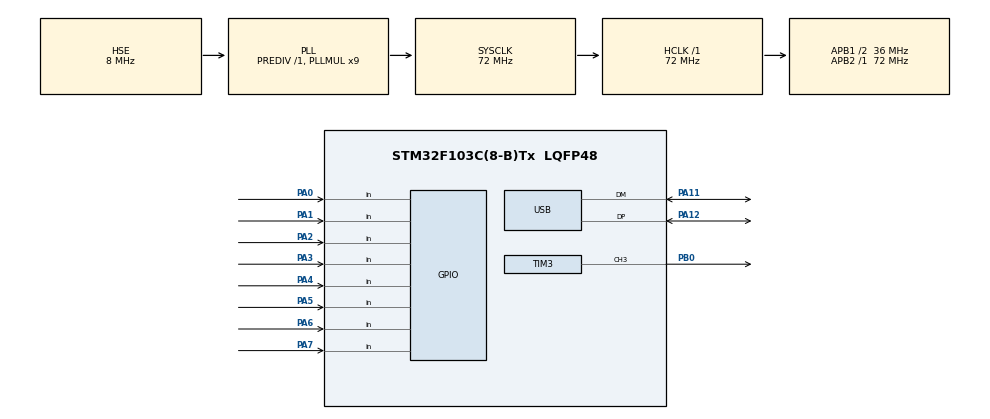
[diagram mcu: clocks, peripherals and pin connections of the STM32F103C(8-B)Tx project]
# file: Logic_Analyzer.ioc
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Dma.Request0=TIM2_UP
Dma.TIM2_UP.0.Direction=DMA_PERIPH_TO_MEMORY
Dma.TIM2_UP.0.Instance=DMA1_Channel2
Dma.TIM2_UP.0.MemDataAlignment=DMA_MDATAALIGN_BYTE
Dma.TIM2_UP.0.MemInc=DMA_MINC_ENABLE
Dma.TIM2_UP.0.Mode=DMA_CIRCULAR
Dma.TIM2_UP.0.PeriphDataAlignment=DMA_PDATAALIGN_BYTE
Dma.TIM2_UP.0.PeriphInc=DMA_PINC_DISABLE
Dma.TIM2_UP.0.Priority=DMA_PRIORITY_LOW
Mcu.Family=STM32F1
Mcu.Name=STM32F103C(8-B)Tx
Mcu.Package=LQFP48
NVIC.DMA1_Channel2_IRQn=true\:0\:0\:false\:false\:true\:false\:true\:true
NVIC.PriorityGroup=NVIC_PRIORITYGROUP_4
NVIC.USB_LP_CAN1_RX0_IRQn=true\:0\:0\:false\:false\:true\:false\:true\:true
PA0-WKUP.GPIO_PuPd=GPIO_PULLDOWN
PA0-WKUP.Signal=GPIO_Input
PA1.GPIO_PuPd=GPIO_PULLDOWN
PA1.Signal=GPIO_Input
PA11.Mode=Device
PA11.Signal=USB_DM
PA12.Mode=Device
PA12.Signal=USB_DP
PA13.Mode=Serial_Wire
PA13.Signal=SYS_JTMS-SWDIO
PA14.Mode=Serial_Wire
PA14.Signal=SYS_JTCK-SWCLK
PA2.GPIO_PuPd=GPIO_PULLDOWN
PA2.Signal=GPIO_Input
PA3.GPIO_PuPd=GPIO_PULLDOWN
PA3.Signal=GPIO_Input
PA4.GPIO_PuPd=GPIO_PULLDOWN
PA4.Signal=GPIO_Input
PA5.GPIO_PuPd=GPIO_PULLDOWN
PA5.Signal=GPIO_Input
PA6.GPIO_PuPd=GPIO_PULLDOWN
PA6.Signal=GPIO_Input
PA7.GPIO_PuPd=GPIO_PULLDOWN
PA7.Signal=GPIO_Input
PB0.Signal=S_TIM3_CH3
PD0-OSC_IN.Mode=HSE-External-Oscillator
PD0-OSC_IN.Signal=RCC_OSC_IN
PD1-OSC_OUT.Mode=HSE-External-Oscillator
PD1-OSC_OUT.Signal=RCC_OSC_OUT
ProjectManager.HeapSize=0x200
ProjectManager.StackSize=0x400
ProjectManager.TargetToolchain=STM32CubeIDE
RCC.AHBFreq_Value=72000000
RCC.APB1CLKDivider=RCC_HCLK_DIV2
RCC.APB1Freq_Value=36000000
RCC.APB1TimFreq_Value=72000000
RCC.APB2Freq_Value=72000000
RCC.APB2TimFreq_Value=72000000
RCC.HCLKFreq_Value=72000000
RCC.PLLMUL=RCC_PLL_MUL9
RCC.PLLSourceVirtual=RCC_PLLSOURCE_HSE
RCC.SYSCLKFreq_VALUE=72000000
RCC.SYSCLKSource=RCC_SYSCLKSOURCE_PLLCLK
RCC.USBFreq_Value=48000000
RCC.USBPrescaler=RCC_USBCLKSOURCE_PLL_DIV1_5
SH.S_TIM3_CH3.0=TIM3_CH3,PWM Generation3 CH3
TIM2.Period=71
TIM3.Channel-PWM\ Generation3\ CH3=TIM_CHANNEL_3
TIM3.Period=99
TIM3.Prescaler=71
TIM3.Pulse-PWM\ Generation3\ CH3=50
USB_DEVICE.CLASS_NAME_FS=CDC
USB_DEVICE.VirtualMode=Cdc
USB_DEVICE.VirtualModeFS=Cdc_FS
VP_TIM2_VS_ClockSourceINT.Mode=Internal
VP_TIM2_VS_ClockSourceITR.Mode=TriggerSource_ITR0
VP_TIM3_VS_ClockSourceINT.Mode=Internal
VP_USB_DEVICE_VS_USB_DEVICE_CDC_FS.Mode=CDC_FS
board=custom

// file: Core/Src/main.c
/* USER CODE BEGIN Header */
/**
  ******************************************************************************
  * @file           : main.c
  * @brief          : Main program body
  ******************************************************************************
  * @attention
  *
  * Copyright (c) 2025 STMicroelectronics.
  * All rights reserved.
  *
  * This software is licensed under terms that can be found in the LICENSE file
  * in the root directory of this software component.
  * If no LICENSE file comes with this software, it is provided AS-IS.
  *
  ******************************************************************************
  */
/* USER CODE END Header */
#include "main.h"
#include "usb_device.h"

/* USER CODE BEGIN Includes */
#include "usbd_cdc_if.h"
/* USER CODE END Includes */

TIM_HandleTypeDef htim2;
TIM_HandleTypeDef htim3;
DMA_HandleTypeDef hdma_tim2_up;

/* USER CODE BEGIN PV */
#define LA_BUFFER_SIZE 10000 // Kích thước mảng (10000 bytes)
uint8_t rx_buffer[LA_BUFFER_SIZE];

// Các cờ báo hiệu cho vòng lặp while(1) biết khi nào DMA đã xong một nửa hoặc xong toàn bộ
volatile uint8_t half_transfer_complete = 0;
volatile uint8_t full_transfer_complete = 0;
/* USER CODE END PV */

void SystemClock_Config(void);
static void MX_GPIO_Init(void);
static void MX_DMA_Init(void);
static void MX_TIM2_Init(void);
static void MX_TIM3_Init(void);
/* USER CODE BEGIN PFP */
void DmaHalfTransferCallback(DMA_HandleTypeDef *hdma);
void DmaFullTransferCallback(DMA_HandleTypeDef *hdma);
/* USER CODE END PFP */

/* USER CODE BEGIN 0 */
// Hàm này tự động được gọi khi DMA ghi đầy nửa đầu của mảng (từ index 0 đến 4999)
void DmaHalfTransferCallback(DMA_HandleTypeDef *hdma) {
    half_transfer_complete = 1; // Bật cờ báo hiệu
}

// Hàm này tự động được gọi khi DMA ghi đầy mảng (từ index 5000 đến 9999)
void DmaFullTransferCallback(DMA_HandleTypeDef *hdma) {
    full_transfer_complete = 1; // Bật cờ báo hiệu
}
/* USER CODE END 0 */

int main(void)
{

  /* MCU Configuration--------------------------------------------------------*/

  /* Reset of all peripherals, Initializes the Flash interface and the Systick. */
  HAL_Init();

  /* Configure the system clock */
  SystemClock_Config();

  /* USER CODE BEGIN SysInit */
  // --- CODE ÉP WINDOWS NHẬN DIỆN LẠI USB (Sửa lỗi Blue Pill) ---
    GPIO_InitTypeDef GPIO_InitStruct = {0};
    __HAL_RCC_GPIOA_CLK_ENABLE(); // Bật xung nhịp cho Port A

    // Cấu hình chân PA12 (USB D+) thành chân Output bình thường
    GPIO_InitStruct.Pin = GPIO_PIN_12;
    GPIO_InitStruct.Mode = GPIO_MODE_OUTPUT_PP;
    GPIO_InitStruct.Pull = GPIO_NOPULL;
    GPIO_InitStruct.Speed = GPIO_SPEED_FREQ_LOW;
    HAL_GPIO_Init(GPIOA, &GPIO_InitStruct);

    // Kéo chân D+ xuống mức LOW (0V) để giả lập việc rút cáp USB
    HAL_GPIO_WritePin(GPIOA, GPIO_PIN_12, GPIO_PIN_RESET);

    // Đợi 50 mili-giây để Windows nhận ra sự ngắt kết nối
    HAL_Delay(50);
  /* USER CODE END SysInit */

  /* Initialize all configured peripherals */
  MX_GPIO_Init();
  MX_DMA_Init();
  MX_TIM2_Init();
  MX_USB_DEVICE_Init();
  MX_TIM3_Init();
  /* USER CODE BEGIN 2 */
  // Khởi động phát xung vuông PWM 10kHz trên chân PB0
    HAL_TIM_PWM_Start(&htim3, TIM_CHANNEL_3);
  // 1. Gắn các hàm Callback vừa viết ở trên vào bộ điều khiển DMA
  // Gắn hàm Callback vào ngắt HT và TC của DMA
    HAL_DMA_RegisterCallback(&hdma_tim2_up, HAL_DMA_XFER_HALFCPLT_CB_ID, DmaHalfTransferCallback);
    HAL_DMA_RegisterCallback(&hdma_tim2_up, HAL_DMA_XFER_CPLT_CB_ID, DmaFullTransferCallback);

    // Kích hoạt DMA chạy vòng tròn (Circular) chép dữ liệu từ Port A vào rx_buffer
    HAL_DMA_Start_IT(&hdma_tim2_up, (uint32_t)&(GPIOA->IDR), (uint32_t)rx_buffer, LA_BUFFER_SIZE);

    // Cấp quyền cho Timer 2 gọi DMA
    __HAL_TIM_ENABLE_DMA(&htim2, TIM_DMA_UPDATE);

    // Bắt đầu đếm nhịp lấy mẫu!
    HAL_TIM_Base_Start(&htim2);
  /* USER CODE END 2 */

  /* Infinite loop */
  /* USER CODE BEGIN WHILE */

    while (1)
      {
    	if (half_transfer_complete == 1) {
    	          // Truyền 5000 byte nửa đầu của mảng
    	          // &rx_buffer[0] là địa chỉ bắt đầu của nửa đầu
    	          CDC_Transmit_FS(&rx_buffer[0], LA_BUFFER_SIZE / 2);

    	          half_transfer_complete = 0; // Xóa cờ, đợi chu kỳ sau
    	      }

    	if (full_transfer_complete == 1) {
    	          // Truyền 5000 byte nửa sau của mảng
    	          // &rx_buffer[5000] là địa chỉ bắt đầu của nửa sau
    	          CDC_Transmit_FS(&rx_buffer[LA_BUFFER_SIZE / 2], LA_BUFFER_SIZE / 2);

    	          full_transfer_complete = 0; // Xóa cờ, đợi chu kỳ sau
    	      }

    	// Tạo khoảng nghỉ 5ms giữa các lần phát để phần mềm PC dễ nhìn
    	HAL_Delay(5);
    /* USER CODE END WHILE */

  }
}

void SystemClock_Config(void)
{
  RCC_OscInitTypeDef RCC_OscInitStruct = {0};
  RCC_ClkInitTypeDef RCC_ClkInitStruct = {0};
  RCC_PeriphCLKInitTypeDef PeriphClkInit = {0};

  /** Initializes the RCC Oscillators according to the specified parameters
  * in the RCC_OscInitTypeDef structure.
  */
  RCC_OscInitStruct.OscillatorType = RCC_OSCILLATORTYPE_HSE;
  RCC_OscInitStruct.HSEState = RCC_HSE_ON;
  RCC_OscInitStruct.HSEPredivValue = RCC_HSE_PREDIV_DIV1;
  RCC_OscInitStruct.HSIState = RCC_HSI_ON;
  RCC_OscInitStruct.PLL.PLLState = RCC_PLL_ON;
  RCC_OscInitStruct.PLL.PLLSource = RCC_PLLSOURCE_HSE;
  RCC_OscInitStruct.PLL.PLLMUL = RCC_PLL_MUL9;
  if (HAL_RCC_OscConfig(&RCC_OscInitStruct) != HAL_OK)
  {
    Error_Handler();
  }

  /** Initializes the CPU, AHB and APB buses clocks
  */
  RCC_ClkInitStruct.ClockType = RCC_CLOCKTYPE_HCLK|RCC_CLOCKTYPE_SYSCLK
                              |RCC_CLOCKTYPE_PCLK1|RCC_CLOCKTYPE_PCLK2;
  RCC_ClkInitStruct.SYSCLKSource = RCC_SYSCLKSOURCE_PLLCLK;
  RCC_ClkInitStruct.AHBCLKDivider = RCC_SYSCLK_DIV1;
  RCC_ClkInitStruct.APB1CLKDivider = RCC_HCLK_DIV2;
  RCC_ClkInitStruct.APB2CLKDivider = RCC_HCLK_DIV1;

  if (HAL_RCC_ClockConfig(&RCC_ClkInitStruct, FLASH_LATENCY_2) != HAL_OK)
  {
    Error_Handler();
  }
  PeriphClkInit.PeriphClockSelection = RCC_PERIPHCLK_USB;
  PeriphClkInit.UsbClockSelection = RCC_USBCLKSOURCE_PLL_DIV1_5;
  if (HAL_RCCEx_PeriphCLKConfig(&PeriphClkInit) != HAL_OK)
  {
    Error_Handler();
  }
}

static void MX_TIM2_Init(void)
{

  TIM_ClockConfigTypeDef sClockSourceConfig = {0};
  TIM_SlaveConfigTypeDef sSlaveConfig = {0};
  TIM_MasterConfigTypeDef sMasterConfig = {0};

  htim2.Instance = TIM2;
  htim2.Init.Prescaler = 0;
  htim2.Init.CounterMode = TIM_COUNTERMODE_UP;
  htim2.Init.Period = 71;
  htim2.Init.ClockDivision = TIM_CLOCKDIVISION_DIV1;
  htim2.Init.AutoReloadPreload = TIM_AUTORELOAD_PRELOAD_DISABLE;
  if (HAL_TIM_Base_Init(&htim2) != HAL_OK)
  {
    Error_Handler();
  }
  sClockSourceConfig.ClockSource = TIM_CLOCKSOURCE_INTERNAL;
  if (HAL_TIM_ConfigClockSource(&htim2, &sClockSourceConfig) != HAL_OK)
  {
    Error_Handler();
  }
  sSlaveConfig.SlaveMode = TIM_SLAVEMODE_DISABLE;
  sSlaveConfig.InputTrigger = TIM_TS_ITR0;
  if (HAL_TIM_SlaveConfigSynchro(&htim2, &sSlaveConfig) != HAL_OK)
  {
    Error_Handler();
  }
  sMasterConfig.MasterOutputTrigger = TIM_TRGO_RESET;
  sMasterConfig.MasterSlaveMode = TIM_MASTERSLAVEMODE_DISABLE;
  if (HAL_TIMEx_MasterConfigSynchronization(&htim2, &sMasterConfig) != HAL_OK)
  {
    Error_Handler();
  }

}

static void MX_TIM3_Init(void)
{

  TIM_ClockConfigTypeDef sClockSourceConfig = {0};
  TIM_MasterConfigTypeDef sMasterConfig = {0};
  TIM_OC_InitTypeDef sConfigOC = {0};

  htim3.Instance = TIM3;
  htim3.Init.Prescaler = 71;
  htim3.Init.CounterMode = TIM_COUNTERMODE_UP;
  htim3.Init.Period = 99;
  htim3.Init.ClockDivision = TIM_CLOCKDIVISION_DIV1;
  htim3.Init.AutoReloadPreload = TIM_AUTORELOAD_PRELOAD_DISABLE;
  if (HAL_TIM_Base_Init(&htim3) != HAL_OK)
  {
    Error_Handler();
  }
  sClockSourceConfig.ClockSource = TIM_CLOCKSOURCE_INTERNAL;
  if (HAL_TIM_ConfigClockSource(&htim3, &sClockSourceConfig) != HAL_OK)
  {
    Error_Handler();
  }
  if (HAL_TIM_PWM_Init(&htim3) != HAL_OK)
  {
    Error_Handler();
  }
  sMasterConfig.MasterOutputTrigger = TIM_TRGO_RESET;
  sMasterConfig.MasterSlaveMode = TIM_MASTERSLAVEMODE_DISABLE;
  if (HAL_TIMEx_MasterConfigSynchronization(&htim3, &sMasterConfig) != HAL_OK)
  {
    Error_Handler();
  }
  sConfigOC.OCMode = TIM_OCMODE_PWM1;
  sConfigOC.Pulse = 50;
  sConfigOC.OCPolarity = TIM_OCPOLARITY_HIGH;
  sConfigOC.OCFastMode = TIM_OCFAST_DISABLE;
  if (HAL_TIM_PWM_ConfigChannel(&htim3, &sConfigOC, TIM_CHANNEL_3) != HAL_OK)
  {
    Error_Handler();
  }
  HAL_TIM_MspPostInit(&htim3);

}

static void MX_DMA_Init(void)
{

  /* DMA controller clock enable */
  __HAL_RCC_DMA1_CLK_ENABLE();

  /* DMA interrupt init */
  /* DMA1_Channel2_IRQn interrupt configuration */
  HAL_NVIC_SetPriority(DMA1_Channel2_IRQn, 0, 0);
  HAL_NVIC_EnableIRQ(DMA1_Channel2_IRQn);

}

static void MX_GPIO_Init(void)
{
  GPIO_InitTypeDef GPIO_InitStruct = {0};

  /* GPIO Ports Clock Enable */
  __HAL_RCC_GPIOD_CLK_ENABLE();
  __HAL_RCC_GPIOA_CLK_ENABLE();
  __HAL_RCC_GPIOB_CLK_ENABLE();

  /*Configure GPIO pins : PA0 PA1 PA2 PA3
                           PA4 PA5 PA6 PA7 */
  GPIO_InitStruct.Pin = GPIO_PIN_0|GPIO_PIN_1|GPIO_PIN_2|GPIO_PIN_3
                          |GPIO_PIN_4|GPIO_PIN_5|GPIO_PIN_6|GPIO_PIN_7;
  GPIO_InitStruct.Mode = GPIO_MODE_INPUT;
  GPIO_InitStruct.Pull = GPIO_PULLDOWN;
  HAL_GPIO_Init(GPIOA, &GPIO_InitStruct);

}

void Error_Handler(void)
{
  __disable_irq();
  while (1)
  {
  }
}
